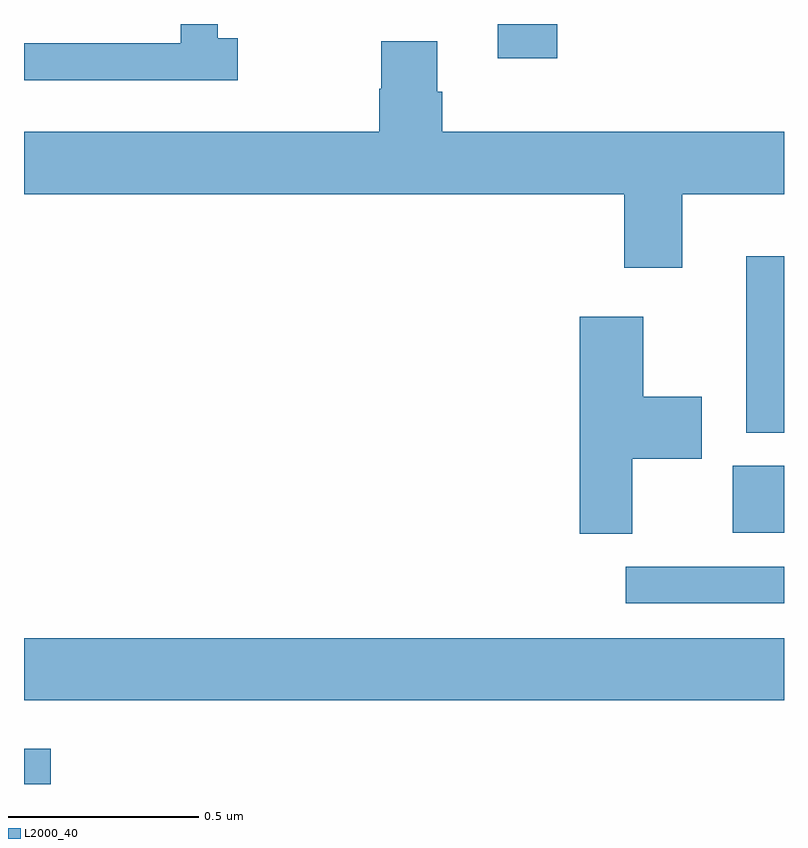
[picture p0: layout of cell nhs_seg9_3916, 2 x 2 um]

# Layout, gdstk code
import gdstk
lib = gdstk.Library(unit=1e-6, precision=1e-09)
def R(c, l, rs):  # rectangles x0, y0, x1, y1
    for r in rs: c.add(gdstk.rectangle(r[:2], r[2:], *l))
def P(c, l, *ps):  # polygons
    for p in ps: c.add(gdstk.Polygon(p, *l))
L2000_40 = (2000, 40)

nhs_seg9_3916 = lib.new_cell('nhs_seg9_3916')
R(nhs_seg9_3916, L2000_40, [(159,1229.5,159.071,1229.593), (159,1229.72,161,1229.884), (160.584,1229.976,161,1230.072), (160.865,1230.161,161,1230.337), (160.901,1230.425,161,1230.889), (160.247,1231.41,160.403,1231.5)])
P(nhs_seg9_3916, L2000_40, [(159.562,1231.462),(159.51,1231.462),(159.51,1231.5),(159.413,1231.5),(159.413,1231.449),(159,1231.449),(159,1231.352),(159.562,1231.352)],
  [(160.732,1231.052),(161,1231.052),(161,1231.216),(160.1,1231.216),(160.1,1231.322),(160.087,1231.322),(160.087,1231.454),(159.94,1231.454),(159.94,1231.329),(159.935,1231.329),(159.935,1231.216),(159,1231.216),(159,1231.052),(160.58,1231.052),(160.58,1230.858),(160.732,1230.858)],
  [(160.6,1230.356),(160.783,1230.356),(160.783,1230.519),(160.63,1230.519),(160.63,1230.73),(160.463,1230.73),(160.463,1230.159),(160.6,1230.159)])

lib.write_gds('nhs_seg9_3916.gds')
